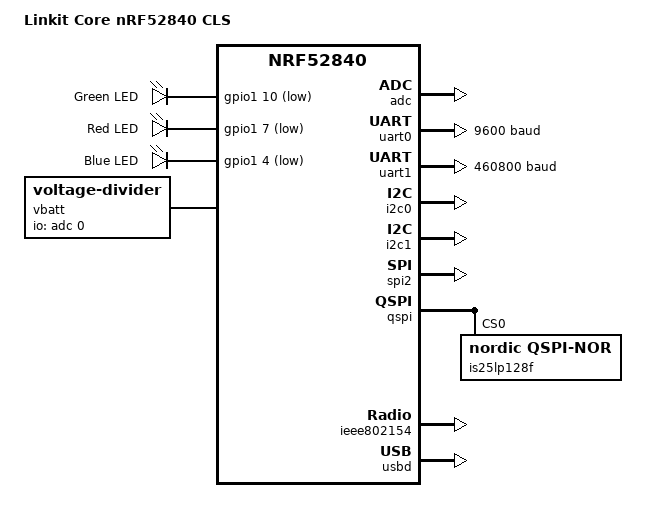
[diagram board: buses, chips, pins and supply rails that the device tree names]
/*
 * Copyright (c) 2020 Tobias Svehagen
 *
 * SPDX-License-Identifier: Apache-2.0
 */

/dts-v1/;
#include <nordic/nrf52840_qfaa.dtsi>
#include "linkit_connector.dtsi"
#include "linkit_core_nrf52840-pinctrl.dtsi"
#include <zephyr/dt-bindings/input/input-event-codes.h>
/ {
    model = "Linkit Core nRF52840 CLS";
    compatible = "arribada,linkit-nrf52840";

    chosen {
        zephyr,console = &uart1;
        zephyr,shell-uart = &uart1;
        zephyr,uart-mcumgr = &uart1;
        zephyr,bt-mon-uart = &uart1;
        zephyr,bt-c2h-uart = &uart1;
        zephyr,sram = &sram0;
        zephyr,flash = &flash0;
        zephyr,code-partition = &slot0_partition;
        zephyr,ieee802154 = &ieee802154;
    };

    leds {
        compatible = "gpio-leds";
        led0: led_0 {
            gpios = <&gpio1 10 GPIO_ACTIVE_LOW>;
            label = "Green LED";
        };
        led1: led_1 {
            gpios = <&gpio1 7 GPIO_ACTIVE_LOW>;
            label = "Red LED";
        };
        led2: led_2 {
            gpios = <&gpio1 4 GPIO_ACTIVE_LOW>;
            label = "Blue LED";
        };
    };
	
	vbatt {
		compatible = "voltage-divider";
		io-channels = <&adc 0>;
		output-ohms = <100000>;
		full-ohms = <(100000 + 100000)>;
	}

    aliases {
        led0 = &led0;
        led1 = &led1;
        led2 = &led2;
        watchdog0 = &wdt0;
        spi-flash0 = &is25lp128f;
        spi2 = &spi2;
        i2c0 = &i2c0;
        i2c1 = &i2c1;
        uart0 = &uart0;
        uart1 = &uart1;
    };
};

&adc {
    status = "okay";
};

&gpiote {
    status = "okay";
};

&gpio0 {
    status = "okay";
};

&gpio1 {
    status = "okay";
};

&uart0 {
	compatible = "nordic,nrf-uart";
    status = "okay";
    current-speed = <9600>;
    pinctrl-0 = <&uart0_default>;
    pinctrl-1 = <&uart0_sleep>;
    pinctrl-names = "default", "sleep";
};

&uart1 {
	compatible = "nordic,nrf-uart";
    status = "okay";
    current-speed = <460800>;
    pinctrl-0 = <&uart1_default>;
    pinctrl-1 = <&uart1_sleep>;
    pinctrl-names = "default", "sleep";
};

&i2c0 {
	compatible = "nordic,nrf-twi";
    status = "okay";
    //clock-frequency = <I2C_BITRATE_FAST>;
    pinctrl-0 = <&i2c0_default>;
    pinctrl-1 = <&i2c0_sleep>;
    pinctrl-names = "default", "sleep";
};

&i2c1 {
	compatible = "nordic,nrf-twi";
    status = "okay";
    //clock-frequency = <I2C_BITRATE_FAST>;
    pinctrl-0 = <&i2c1_default>;
    pinctrl-1 = <&i2c1_sleep>;
    pinctrl-names = "default", "sleep";
};

&spi2 {
    compatible = "nordic,nrf-spi";
    status = "okay";
    pinctrl-0 = <&spi2_default>;
    pinctrl-1 = <&spi2_sleep>;
    pinctrl-names = "default", "sleep";
};

&qspi {
    status = "okay";
    pinctrl-0 = <&qspi_default>;
    pinctrl-1 = <&qspi_sleep>;
    pinctrl-names = "default", "sleep";

    is25lp128f: is25lp128f@0 {
		compatible = "nordic,qspi-nor";
        reg = <0>;
        sck-frequency = <32000000>;
        quad-enable-requirements = "S2B1v1";
        jedec-id = [9d 60 18];
        size = <134217728>;
        has-dpd;
        t-enter-dpd = <3000>;
        t-exit-dpd = <5000>;
    };
};

&flash0 {
    partitions {
        compatible = "fixed-partitions";
        #address-cells = <1>;
        #size-cells = <1>;

        boot_partition: partition@0 {
            label = "mcuboot";
            reg = <0x00000000 0x0000C000>;
        };
        slot0_partition: partition@c000 {
            label = "image-0";
            reg = <0x0000C000 0x00067000>;
        };
        slot1_partition: partition@73000 {
            label = "image-1";
            reg = <0x00073000 0x00067000>;
        };
        scratch_partition: partition@da000 {
            label = "image-scratch";
            reg = <0x000da000 0x0001e000>;
        };
        storage_partition: partition@f8000 {
            label = "storage";
            reg = <0x000f8000 0x00008000>;
        };
    };
};

&ieee802154 {
    status = "okay";
};

zephyr_udc0: &usbd {
    compatible = "nordic,nrf-usbd";
    status = "okay";
};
